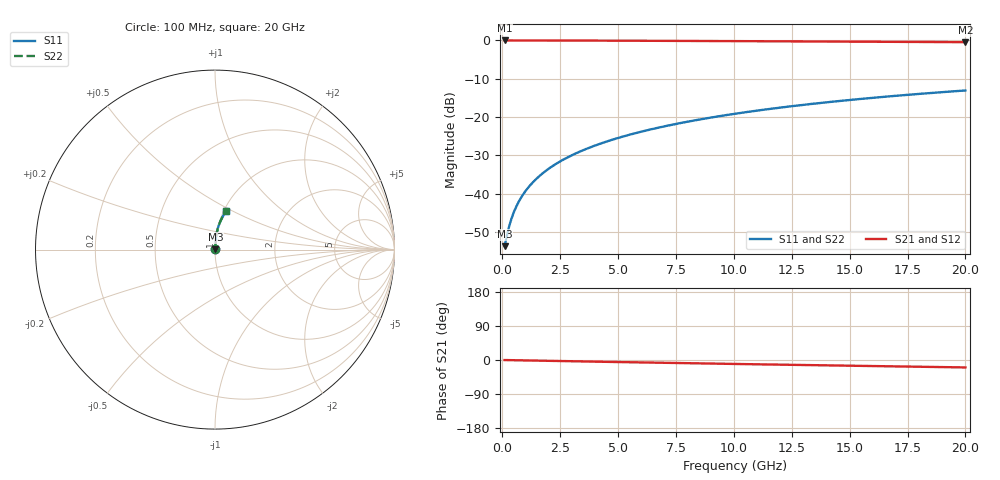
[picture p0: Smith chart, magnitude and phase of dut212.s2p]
! Touchstone file exported from HFSS 2024.1.0
!  File:  C:/UserFiles/LocalFiles/RDL_TSV_Batchsim/temp_RDL_top_212_1778687426.aedt
!  Generated:  11:52:39 PM May 13, 2026
!  Design:  RDL_top
!  Project:  temp_RDL_top_212_1778687426
!  Setup:  Setup1
!  Solution:  Sweep
! Variables:
!  dtsv = 10.80580581um
!  hbump = 3um
!  htsv = 85.19um
!  ldown = 100um
!  lrdl = 242.31um
!  p = 40
!  p1 = 44.8um
!  rhole = 1um
!  t = 450um
!  tdown = 3.915915916um
!  trdl = 3.19um
!  wdown = 15.38538539um
!  wrdl = 17.52um
# GHz S MA R 50.000000
! Terminal data exported
! Port[1] = Box2_T1
! Port[2] = Box2_T2
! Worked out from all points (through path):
!   200 points, 100 MHz to 20 GHz, reference 50 ohm
!   highest |S21| = -0.02 dB at 100 MHz (marker M1); lowest = -0.5 dB at 20 GHz (marker M2)
!   group delay of S21, straight-line fit = 2.71 ps
!   lowest |S11| = -53.7 dB at 100 MHz (marker M3), VSWR 1.00, Z = 50.2 + j0.113 ohm
!   |S11| at or under -10 dB: start of sweep to end of sweep
!   |S22| runs from -53.7 to -13.1 dB; largest |S21 - S12| = 3.6e-15
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0.1  0.002077 32.9  0.9983 -0.1  0.9983 -0.1  0.002077 32.9
! Gamma 0 0 0 0
! Port Impedance 50 0 50 0
0.2  0.002866 51.4  0.9982 -0.2  0.9982 -0.2  0.002866 51.4
0.3  0.003802 60.9  0.9981 -0.3  0.9981 -0.3  0.003802 60.9
0.4  0.004782 66.5  0.9981 -0.5  0.9981 -0.5  0.004782 66.5
0.5  0.005777 70.2  0.998 -0.6  0.998 -0.6  0.005777 70.2
0.6  0.006778 72.8  0.9979 -0.7  0.9979 -0.7  0.006778 72.8
0.8  0.008795 76.4  0.9978 -0.9  0.9978 -0.9  0.008795 76.4
1.1  0.01185 79.6  0.9976 -1.2  0.9976 -1.2  0.01185 79.6
1.3  0.01391 81.0  0.9974 -1.4  0.9974 -1.4  0.01391 81.0
1.6  0.01702 82.4  0.9972 -1.8  0.9972 -1.8  0.01702 82.4
2.1  0.02225 83.9  0.9967 -2.3  0.9967 -2.3  0.02225 83.9
2.7  0.02858 84.9  0.9959 -3.0  0.9959 -3.0  0.02858 84.9
3.5  0.03713 85.6  0.9947 -3.8  0.9947 -3.8  0.03713 85.5
4.2  0.0447 85.8  0.9934 -4.6  0.9934 -4.6  0.0447 85.8
5  0.05346 85.8  0.9917 -5.4  0.9917 -5.4  0.05346 85.8
5.9  0.06344 85.6  0.9896 -6.3  0.9896 -6.3  0.06344 85.6
6.8  0.07353 85.2  0.9874 -7.2  0.9874 -7.2  0.07353 85.2
8.4  0.09169 84.3  0.9832 -8.8  0.9832 -8.8  0.09169 84.3
10.1  0.1112 83.0  0.9784 -10.5  0.9784 -10.5  0.1112 83.0
13.4  0.149 80.2  0.9687 -13.6  0.9687 -13.6  0.149 80.2
16.7  0.1863 77.1  0.9586 -16.7  0.9586 -16.7  0.1863 77.1
20  0.2224 73.9  0.9481 -19.6  0.9481 -19.6  0.2224 73.9
